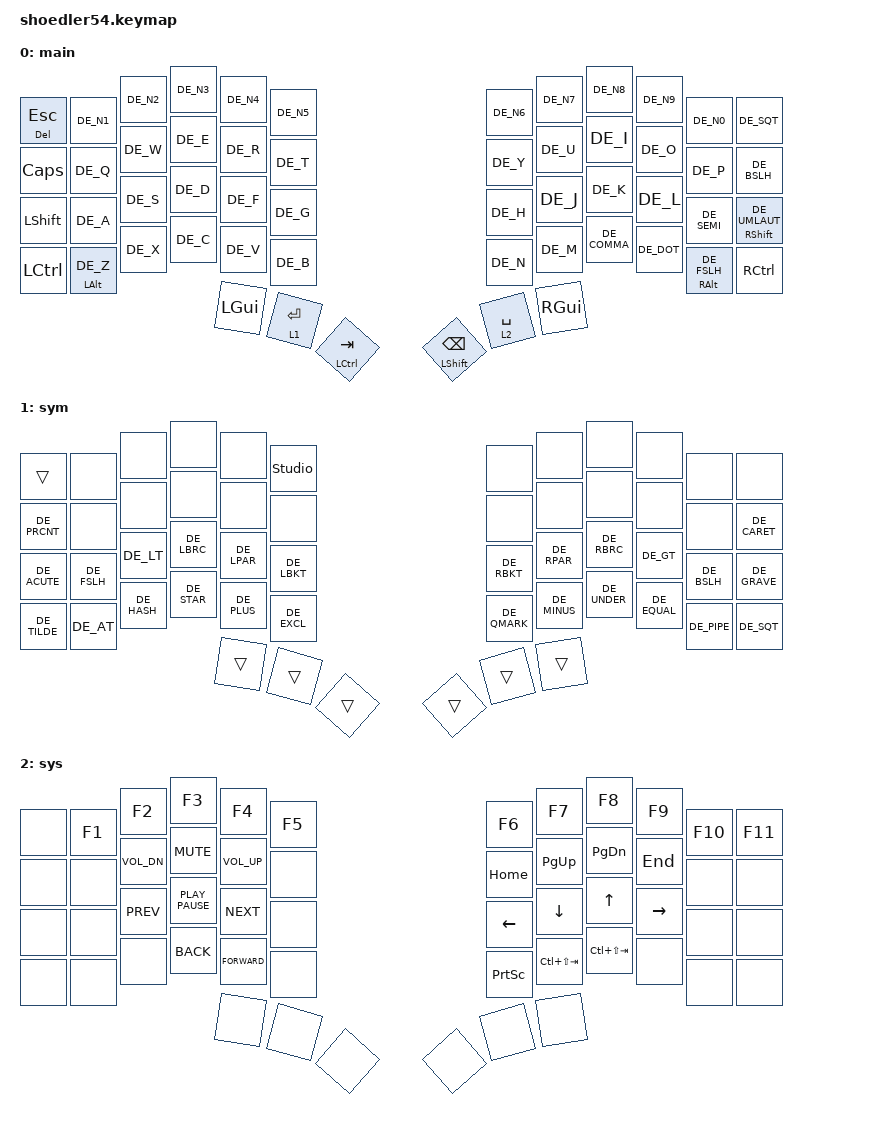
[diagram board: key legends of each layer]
#include <behaviors.dtsi>
#include <dt-bindings/zmk/keys.h>
#include "keys_de_swiss.h"

&lt { tapping-term-ms = <150>; };

/ {
    behaviors {
        khkp: khkp {
            compatible = "zmk,behavior-hold-tap";
            label = "KHKP";
            bindings = <&kp>, <&kp>;

            #binding-cells = <2>;
            tapping-term-ms = <150>;
        };
    };

    keymap {
        compatible = "zmk,keymap";

        main {
            bindings = <
&khkp DEL ESC  &kp DE_N1        &kp DE_N2  &kp DE_N3  &kp DE_N4  &kp DE_N5  &kp DE_N6             &kp DE_N7         &kp DE_N8     &kp DE_N9   &kp DE_N0           &kp DE_SQT
&kp CAPS       &kp DE_Q         &kp DE_W   &kp DE_E   &kp DE_R   &kp DE_T   &kp DE_Y              &kp DE_U          &kp DE_I      &kp DE_O    &kp DE_P            &kp DE_BSLH
&kp LSHIFT     &kp DE_A         &kp DE_S   &kp DE_D   &kp DE_F   &kp DE_G   &kp DE_H              &kp DE_J          &kp DE_K      &kp DE_L    &kp DE_SEMI         &khkp RSHIFT DE_UMLAUT
&kp LCTRL      &khkp LALT DE_Z  &kp DE_X   &kp DE_C   &kp DE_V   &kp DE_B   &kp DE_N              &kp DE_M          &kp DE_COMMA  &kp DE_DOT  &khkp RALT DE_FSLH  &kp RCTRL
                                                      &kp LGUI   &lt 1 RET  &khkp LCTRL TAB       &khkp LSHFT BSPC  &lt 2 SPACE   &kp RGUI
            >;
        };

        sym {
            bindings = <
&trans        &none        &none        &none        &none        &studio_unlock       &none         &none         &none         &none         &none        &none
&kp DE_PRCNT  &none        &none        &none        &none        &none                &none         &none         &none         &none         &none        &kp DE_CARET
&kp DE_ACUTE  &kp DE_FSLH  &kp DE_LT    &kp DE_LBRC  &kp DE_LPAR  &kp DE_LBKT          &kp DE_RBKT   &kp DE_RPAR   &kp DE_RBRC   &kp DE_GT     &kp DE_BSLH  &kp DE_GRAVE
&kp DE_TILDE  &kp DE_AT    &kp DE_HASH  &kp DE_STAR  &kp DE_PLUS  &kp DE_EXCL          &kp DE_QMARK  &kp DE_MINUS  &kp DE_UNDER  &kp DE_EQUAL  &kp DE_PIPE  &kp DE_SQT
                                         &trans       &trans       &trans               &trans        &trans        &trans
            >;
        };

        sys {
            bindings = <
&none  &kp F1  &kp F2        &kp F3            &kp F4           &kp F5  &kp F6           &kp F7           &kp F8           &kp F9     &kp F10  &kp F11
&none  &none   &kp C_VOL_DN  &kp K_MUTE        &kp C_VOLUME_UP  &none   &kp HOME         &kp PG_UP        &kp PG_DN        &kp END    &none    &none
&none  &none   &kp K_PREV    &kp K_PLAY_PAUSE  &kp K_NEXT       &none   &kp LEFT         &kp DOWN         &kp UP           &kp RIGHT  &none    &none
&none  &none   &none         &kp K_BACK        &kp K_FORWARD    &none   &kp PRINTSCREEN  &kp LC(LS(TAB))  &kp LC(LS(TAB))  &none      &none    &none
                             &none             &none            &none   &none            &none            &none
            >;
        };

        extra1 { status = "reserved"; };

        extra2 { status = "reserved"; };
    };
};
